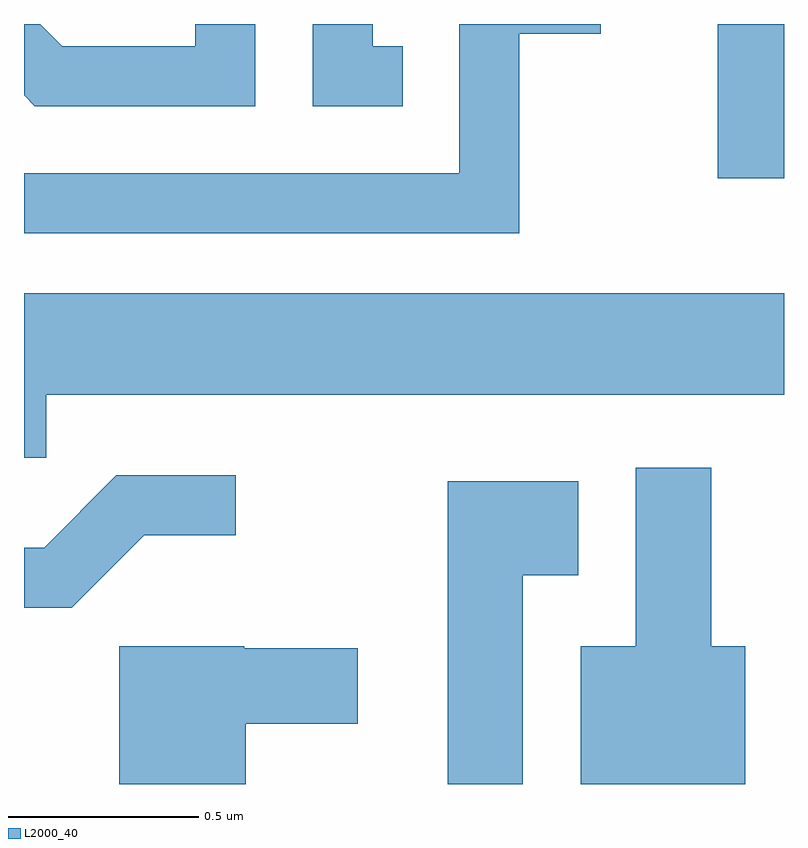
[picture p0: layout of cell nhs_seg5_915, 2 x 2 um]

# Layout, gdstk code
import gdstk
lib = gdstk.Library(unit=1e-6, precision=1e-09)
def R(c, l, rs):  # rectangles x0, y0, x1, y1
    for r in rs: c.add(gdstk.rectangle(r[:2], r[2:], *l))
def P(c, l, *ps):  # polygons
    for p in ps: c.add(gdstk.Polygon(p, *l))
L2000_40 = (2000, 40)

nhs_seg5_915 = lib.new_cell('nhs_seg5_915')
R(nhs_seg5_915, L2000_40, [(193.436,1490.666,193.611,1491.072)])
P(nhs_seg5_915, L2000_40, [(192.914,1491.046),(193.129,1491.046),(193.129,1491.072),(192.756,1491.072),(192.756,1490.679),(191.611,1490.679),(191.611,1490.521),(192.914,1490.521)],
  [(192.219,1491.072),(192.061,1491.072),(192.061,1491.014),(191.712,1491.014),(191.654,1491.072),(191.611,1491.072),(191.611,1490.884),(191.639,1490.856),(192.219,1490.856)],
  [(192.608,1491.014),(192.529,1491.014),(192.529,1491.072),(192.371,1491.072),(192.371,1490.856),(192.608,1490.856)],
  [(191.669,1490.096),(193.611,1490.096),(193.611,1490.364),(191.611,1490.364),(191.611,1489.931),(191.669,1489.931)],
  [(193.509,1489.434),(193.419,1489.434),(193.419,1489.904),(193.221,1489.904),(193.221,1489.434),(193.076,1489.434),(193.076,1489.072),(193.509,1489.072)],
  [(191.927,1489.726),(192.168,1489.726),(192.168,1489.884),(191.854,1489.884),(191.664,1489.694),(191.611,1489.694),(191.611,1489.536),(191.737,1489.536)],
  [(192.924,1489.621),(193.069,1489.621),(193.069,1489.869),(192.726,1489.869),(192.726,1489.072),(192.924,1489.072)],
  [(192.194,1489.231),(192.489,1489.231),(192.489,1489.429),(192.19,1489.429),(192.19,1489.434),(191.861,1489.434),(191.861,1489.072),(192.194,1489.072)])

lib.write_gds('nhs_seg5_915.gds')
